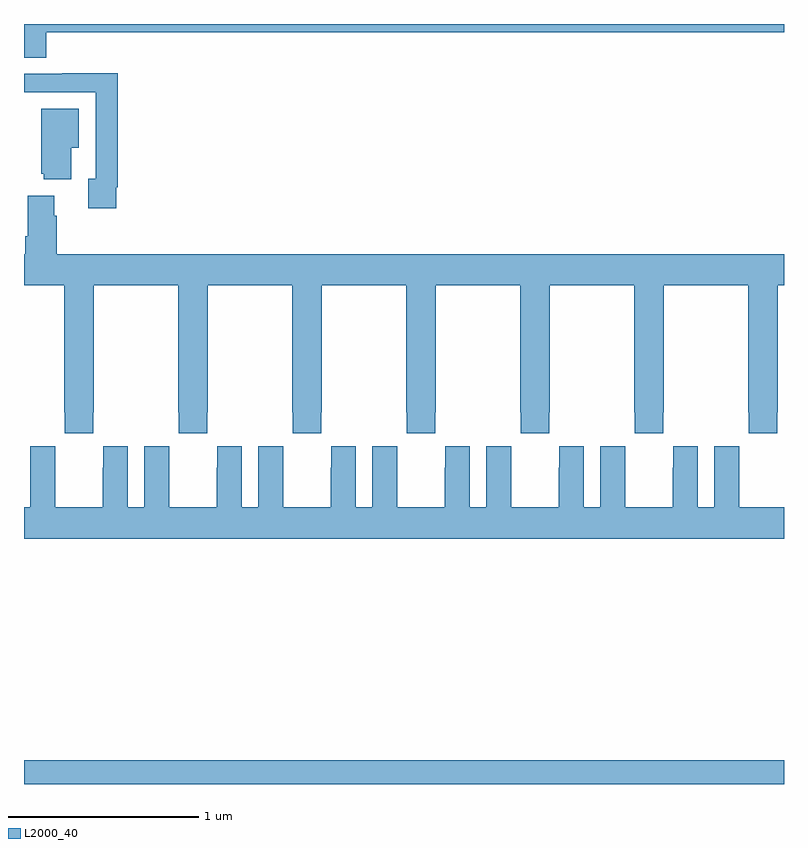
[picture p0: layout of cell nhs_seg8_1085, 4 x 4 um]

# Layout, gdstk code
import gdstk
lib = gdstk.Library(unit=1e-6, precision=1e-09)
def R(c, l, rs):  # rectangles x0, y0, x1, y1
    for r in rs: c.add(gdstk.rectangle(r[:2], r[2:], *l))
def P(c, l, *ps):  # polygons
    for p in ps: c.add(gdstk.Polygon(p, *l))
L2000_40 = (2000, 40)

nhs_seg8_1085 = lib.new_cell('nhs_seg8_1085')
R(nhs_seg8_1085, L2000_40, [(181,1089.9,185,1090.024)])
P(nhs_seg8_1085, L2000_40, [(181.118,1093.856),(185,1093.856),(185,1093.9),(181,1093.9),(181,1093.723),(181.118,1093.723)],
  [(181.486,1093.042),(181.493,1093.042),(181.493,1093.64),(181.201,1093.64),(181.201,1093.638),(181,1093.638),(181,1093.542),(181.377,1093.542),(181.377,1093.086),(181.337,1093.086),(181.337,1092.93),(181.486,1092.93)],
  [(181.249,1093.25),(181.288,1093.25),(181.288,1093.453),(181.091,1093.453),(181.091,1093.113),(181.103,1093.113),(181.103,1093.082),(181.249,1093.082)],
  [(181.365,1091.857),(181.368,1091.857),(181.368,1092.524),(181.813,1092.524),(181.813,1091.857),(181.815,1091.857),(181.815,1091.745),(181.965,1091.745),(181.965,1091.857),(181.968,1091.857),(181.968,1092.524),(182.413,1092.524),(182.413,1091.857),(182.415,1091.857),(182.415,1091.745),(182.565,1091.745),(182.565,1091.857),(182.568,1091.857),(182.568,1092.524),(183.013,1092.524),(183.013,1091.857),(183.015,1091.857),(183.015,1091.745),(183.165,1091.745),(183.165,1091.857),(183.168,1091.857),(183.168,1092.524),(183.613,1092.524),(183.613,1091.857),(183.615,1091.857),(183.615,1091.745),(183.765,1091.745),(183.765,1091.857),(183.768,1091.857),(183.768,1092.524),(184.213,1092.524),(184.213,1091.857),(184.215,1091.857),(184.215,1091.745),(184.365,1091.745),(184.365,1091.857),(184.368,1091.857),(184.368,1092.524),(184.813,1092.524),(184.813,1091.857),(184.815,1091.857),(184.815,1091.745),(184.965,1091.745),(184.965,1091.857),(184.968,1091.857),(184.968,1092.524),(185,1092.524),(185,1092.688),(181.172,1092.688),(181.172,1092.89),(181.159,1092.89),(181.159,1092.997),(181.019,1092.997),(181.019,1092.784),(181.007,1092.784),(181.007,1092.688),(181,1092.688),(181,1092.524),(181.213,1092.524),(181.213,1091.857),(181.215,1091.857),(181.215,1091.745),(181.365,1091.745)],
  [(183.216,1091.677),(183.216,1091.564),(183.215,1091.564),(183.215,1091.356),(182.965,1091.356),(182.965,1091.564),(182.964,1091.564),(182.964,1091.677),(182.834,1091.677),(182.834,1091.356),(182.746,1091.356),(182.746,1091.677),(182.616,1091.677),(182.616,1091.564),(182.615,1091.564),(182.615,1091.356),(182.365,1091.356),(182.365,1091.564),(182.364,1091.564),(182.364,1091.677),(182.234,1091.677),(182.234,1091.356),(182.146,1091.356),(182.146,1091.677),(182.016,1091.677),(182.016,1091.564),(182.015,1091.564),(182.015,1091.356),(181.765,1091.356),(181.765,1091.564),(181.764,1091.564),(181.764,1091.677),(181.634,1091.677),(181.634,1091.356),(181.546,1091.356),(181.546,1091.677),(181.416,1091.677),(181.416,1091.564),(181.415,1091.564),(181.415,1091.356),(181.165,1091.356),(181.165,1091.564),(181.164,1091.564),(181.164,1091.677),(181.034,1091.677),(181.034,1091.356),(181,1091.356),(181,1091.192),(185,1091.192),(185,1091.356),(184.765,1091.356),(184.765,1091.564),(184.764,1091.564),(184.764,1091.677),(184.634,1091.677),(184.634,1091.356),(184.546,1091.356),(184.546,1091.677),(184.416,1091.677),(184.416,1091.564),(184.415,1091.564),(184.415,1091.356),(184.165,1091.356),(184.165,1091.564),(184.164,1091.564),(184.164,1091.677),(184.034,1091.677),(184.034,1091.356),(183.946,1091.356),(183.946,1091.677),(183.816,1091.677),(183.816,1091.564),(183.815,1091.564),(183.815,1091.356),(183.565,1091.356),(183.565,1091.564),(183.564,1091.564),(183.564,1091.677),(183.434,1091.677),(183.434,1091.356),(183.346,1091.356),(183.346,1091.677)])

lib.write_gds('nhs_seg8_1085.gds')
